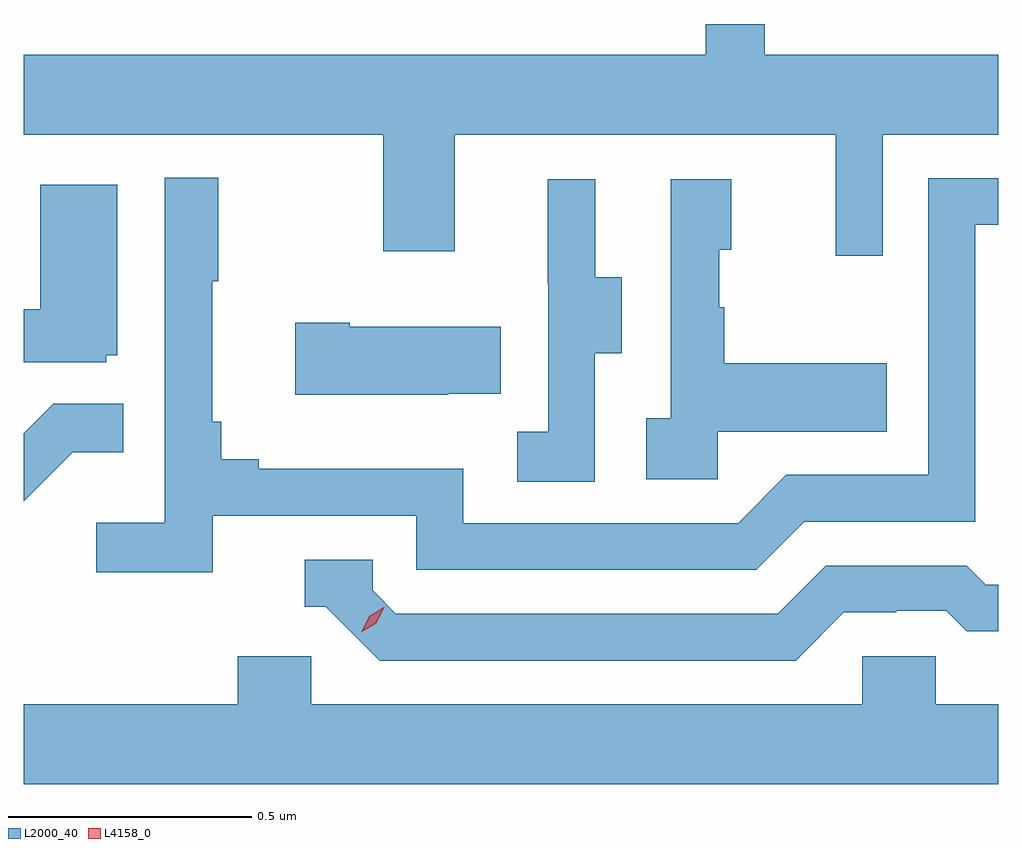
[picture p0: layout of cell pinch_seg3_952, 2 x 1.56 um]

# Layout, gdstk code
import gdstk
lib = gdstk.Library(unit=1e-6, precision=1e-09)
def P(c, l, *ps):  # polygons
    for p in ps: c.add(gdstk.Polygon(p, *l))
L2000_40 = (2000, 40)
L4158_0 = (4158, 0)

pinch_seg3_952 = lib.new_cell('pinch_seg3_952')
P(pinch_seg3_952, L2000_40, [(880.581,694.256),(880.818,694.256),(880.818,694.42),(880.339,694.42),(880.339,694.483),(880.218,694.483),(880.218,694.42),(878.818,694.42),(878.818,694.256),(879.556,694.256),(879.556,694.017),(879.703,694.017),(879.703,694.256),(880.484,694.256),(880.484,694.008),(880.581,694.008)],
  [(879.206,693.474),(879.624,693.474),(879.624,693.363),(880.321,693.363),(880.42,693.462),(880.77,693.462),(880.77,694.071),(880.818,694.071),(880.818,694.167),(880.674,694.167),(880.674,693.558),(880.383,693.558),(880.284,693.459),(879.72,693.459),(879.72,693.571),(879.301,693.571),(879.301,693.59),(879.224,693.59),(879.224,693.667),(879.205,693.667),(879.205,693.955),(879.217,693.955),(879.217,694.168),(879.108,694.168),(879.108,693.46),(878.967,693.46),(878.967,693.358),(879.206,693.358)],
  [(879.99,693.808),(880.045,693.808),(880.045,693.963),(879.991,693.963),(879.991,694.165),(879.893,694.165),(879.893,693.951),(879.894,693.951),(879.894,693.647),(879.831,693.647),(879.831,693.544),(879.99,693.544)],
  [(880.242,693.647),(880.589,693.647),(880.589,693.787),(880.255,693.787),(880.255,693.902),(880.245,693.902),(880.245,694.02),(880.27,694.02),(880.27,694.165),(880.146,694.165),(880.146,693.674),(880.095,693.674),(880.095,693.549),(880.242,693.549)],
  [(878.988,693.804),(879.01,693.804),(879.01,694.153),(878.852,694.153),(878.852,693.898),(878.818,693.898),(878.818,693.789),(878.988,693.789)],
  [(879.689,693.725),(879.797,693.725),(879.797,693.862),(879.487,693.862),(879.487,693.87),(879.375,693.87),(879.375,693.722),(879.689,693.722)],
  [(878.919,693.605),(879.023,693.605),(879.023,693.704),(878.879,693.704),(878.818,693.643),(878.818,693.504)],
  [(880.501,693.276),(880.608,693.276),(880.608,693.279),(880.711,693.279),(880.753,693.237),(880.818,693.237),(880.818,693.333),(880.792,693.333),(880.753,693.372),(880.464,693.372),(880.365,693.273),(879.582,693.273),(879.534,693.321),(879.534,693.384),(879.395,693.384),(879.395,693.288),(879.438,693.288),(879.549,693.177),(880.402,693.177)],
  [(880.818,693.088),(880.689,693.088),(880.689,693.186),(880.539,693.186),(880.539,693.088),(879.408,693.088),(879.408,693.186),(879.257,693.186),(879.257,693.088),(878.818,693.088),(878.818,692.924),(880.818,692.924)])
P(pinch_seg3_952, L4158_0, [(879.511,693.235),(879.511,693.235),(879.527,693.268),(879.557,693.287),(879.558,693.287),(879.558,693.287),(879.542,693.254),(879.511,693.235)])

lib.write_gds('pinch_seg3_952.gds')
